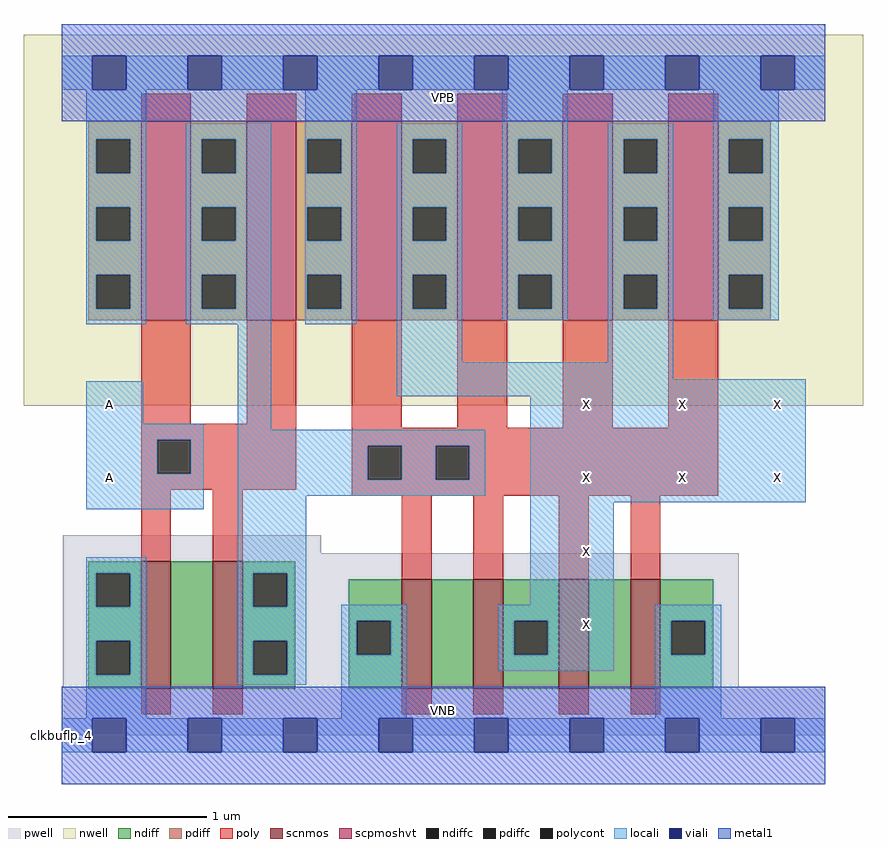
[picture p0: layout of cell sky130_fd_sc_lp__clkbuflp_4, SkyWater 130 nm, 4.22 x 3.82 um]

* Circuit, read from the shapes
.subckt sky130_fd_sc_lp__clkbuflp_4 A VGND VNB VPB VPWR X
XM1 n1 A VGND VNB sky130_fd_pr__nfet_01v8 w=0.64 l=0.15
XM2 n2 A n1 VNB sky130_fd_pr__nfet_01v8 w=0.64 l=0.15
XM3 n3 n2 VGND VNB sky130_fd_pr__nfet_01v8 w=0.55 l=0.15
XM4 X n2 n3 VNB sky130_fd_pr__nfet_01v8 w=0.55 l=0.15
XM5 n4 n2 X VNB sky130_fd_pr__nfet_01v8 w=0.55 l=0.15
XM6 VGND n2 n4 VNB sky130_fd_pr__nfet_01v8 w=0.55 l=0.15
XM7 n2 A VPWR VPB sky130_fd_pr__pfet_01v8_hvt w=1 l=0.25 m=2
XM8 X n2 VPWR VPB sky130_fd_pr__pfet_01v8_hvt w=1 l=0.25 m=4
.ends

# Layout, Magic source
magic
tech sky130A
magscale 1 2
<< nwell >>
rect -38 331 806 704
<< pwell >>
rect 1 183 261 201
rect 1 49 681 183
rect 0 0 768 49
<< scnmos >>
rect 80 47 110 175
rect 152 47 182 175
rect 342 47 372 157
rect 414 47 444 157
rect 500 47 530 157
rect 572 47 602 157
<< scpmoshvt >>
rect 80 417 130 617
rect 186 417 236 617
rect 292 417 342 617
rect 398 417 448 617
rect 504 417 554 617
rect 610 417 660 617
<< ndiff >>
rect 27 163 80 175
rect 27 129 35 163
rect 69 129 80 163
rect 27 95 80 129
rect 27 61 35 95
rect 69 61 80 95
rect 27 47 80 61
rect 110 47 152 175
rect 182 163 235 175
rect 182 129 193 163
rect 227 129 235 163
rect 182 95 235 129
rect 182 61 193 95
rect 227 61 235 95
rect 182 47 235 61
rect 289 115 342 157
rect 289 81 297 115
rect 331 81 342 115
rect 289 47 342 81
rect 372 47 414 157
rect 444 115 500 157
rect 444 81 455 115
rect 489 81 500 115
rect 444 47 500 81
rect 530 47 572 157
rect 602 115 655 157
rect 602 81 613 115
rect 647 81 655 115
rect 602 47 655 81
<< pdiff >>
rect 27 599 80 617
rect 27 565 35 599
rect 69 565 80 599
rect 27 531 80 565
rect 27 497 35 531
rect 69 497 80 531
rect 27 463 80 497
rect 27 429 35 463
rect 69 429 80 463
rect 27 417 80 429
rect 130 599 186 617
rect 130 565 141 599
rect 175 565 186 599
rect 130 531 186 565
rect 130 497 141 531
rect 175 497 186 531
rect 130 463 186 497
rect 130 429 141 463
rect 175 429 186 463
rect 130 417 186 429
rect 236 599 292 617
rect 236 565 247 599
rect 281 565 292 599
rect 236 531 292 565
rect 236 497 247 531
rect 281 497 292 531
rect 236 463 292 497
rect 236 429 247 463
rect 281 429 292 463
rect 236 417 292 429
rect 342 599 398 617
rect 342 565 353 599
rect 387 565 398 599
rect 342 531 398 565
rect 342 497 353 531
rect 387 497 398 531
rect 342 463 398 497
rect 342 429 353 463
rect 387 429 398 463
rect 342 417 398 429
rect 448 599 504 617
rect 448 565 459 599
rect 493 565 504 599
rect 448 531 504 565
rect 448 497 459 531
rect 493 497 504 531
rect 448 463 504 497
rect 448 429 459 463
rect 493 429 504 463
rect 448 417 504 429
rect 554 599 610 617
rect 554 565 565 599
rect 599 565 610 599
rect 554 531 610 565
rect 554 497 565 531
rect 599 497 610 531
rect 554 463 610 497
rect 554 429 565 463
rect 599 429 610 463
rect 554 417 610 429
rect 660 599 713 617
rect 660 565 671 599
rect 705 565 713 599
rect 660 531 713 565
rect 660 497 671 531
rect 705 497 713 531
rect 660 463 713 497
rect 660 429 671 463
rect 705 429 713 463
rect 660 417 713 429
<< ndiffc >>
rect 35 129 69 163
rect 35 61 69 95
rect 193 129 227 163
rect 193 61 227 95
rect 297 81 331 115
rect 455 81 489 115
rect 613 81 647 115
<< pdiffc >>
rect 35 565 69 599
rect 35 497 69 531
rect 35 429 69 463
rect 141 565 175 599
rect 141 497 175 531
rect 141 429 175 463
rect 247 565 281 599
rect 247 497 281 531
rect 247 429 281 463
rect 353 565 387 599
rect 353 497 387 531
rect 353 429 387 463
rect 459 565 493 599
rect 459 497 493 531
rect 459 429 493 463
rect 565 565 599 599
rect 565 497 599 531
rect 565 429 599 463
rect 671 565 705 599
rect 671 497 705 531
rect 671 429 705 463
<< poly >>
rect 80 617 130 645
rect 186 617 236 645
rect 292 617 342 645
rect 398 617 448 645
rect 504 617 554 645
rect 610 617 660 645
rect 80 313 130 417
rect 186 313 236 417
rect 80 297 236 313
rect 80 263 96 297
rect 130 263 236 297
rect 80 247 236 263
rect 292 309 342 417
rect 398 309 448 417
rect 504 309 554 417
rect 610 309 660 417
rect 292 291 660 309
rect 292 257 308 291
rect 342 257 376 291
rect 410 257 660 291
rect 80 175 110 247
rect 152 175 182 247
rect 292 241 660 257
rect 342 157 372 241
rect 414 157 444 241
rect 500 157 530 241
rect 572 157 602 241
rect 80 21 110 47
rect 152 21 182 47
rect 342 21 372 47
rect 414 21 444 47
rect 500 21 530 47
rect 572 21 602 47
<< polycont >>
rect 96 263 130 297
rect 308 257 342 291
rect 376 257 410 291
<< locali >>
rect 0 649 31 683
rect 65 649 127 683
rect 161 649 223 683
rect 257 649 319 683
rect 353 649 415 683
rect 449 649 511 683
rect 545 649 607 683
rect 641 649 703 683
rect 737 649 768 683
rect 25 599 85 649
rect 25 565 35 599
rect 69 565 85 599
rect 25 531 85 565
rect 25 497 35 531
rect 69 497 85 531
rect 25 463 85 497
rect 25 429 35 463
rect 69 429 85 463
rect 25 413 85 429
rect 125 599 211 615
rect 125 565 141 599
rect 175 565 211 599
rect 125 531 211 565
rect 125 497 141 531
rect 175 497 211 531
rect 125 463 211 497
rect 125 429 141 463
rect 175 429 211 463
rect 125 413 211 429
rect 245 599 297 649
rect 245 565 247 599
rect 281 565 297 599
rect 245 531 297 565
rect 245 497 247 531
rect 281 497 297 531
rect 245 463 297 497
rect 245 429 247 463
rect 281 429 297 463
rect 245 413 297 429
rect 337 599 403 615
rect 337 565 353 599
rect 387 565 403 599
rect 337 531 403 565
rect 337 497 353 531
rect 387 497 403 531
rect 337 463 403 497
rect 337 429 353 463
rect 387 429 403 463
rect 25 313 82 356
rect 25 297 143 313
rect 25 263 96 297
rect 130 263 143 297
rect 25 227 143 263
rect 177 307 211 413
rect 337 375 403 429
rect 443 599 509 649
rect 443 565 459 599
rect 493 565 509 599
rect 443 531 509 565
rect 443 497 459 531
rect 493 497 509 531
rect 443 463 509 497
rect 443 429 459 463
rect 493 429 509 463
rect 443 417 509 429
rect 549 599 615 615
rect 549 565 565 599
rect 599 565 615 599
rect 549 531 615 565
rect 549 497 565 531
rect 599 497 615 531
rect 549 463 615 497
rect 549 429 565 463
rect 599 429 615 463
rect 549 375 615 429
rect 655 599 721 649
rect 655 565 671 599
rect 705 565 721 599
rect 655 531 721 565
rect 655 497 671 531
rect 705 497 721 531
rect 655 463 721 497
rect 655 429 671 463
rect 705 429 721 463
rect 655 417 721 429
rect 337 358 615 375
rect 337 341 748 358
rect 177 291 426 307
rect 177 257 308 291
rect 342 257 376 291
rect 410 257 426 291
rect 177 241 426 257
rect 25 163 85 179
rect 25 129 35 163
rect 69 129 85 163
rect 25 95 85 129
rect 25 61 35 95
rect 69 61 85 95
rect 25 17 85 61
rect 177 163 246 241
rect 177 129 193 163
rect 227 129 246 163
rect 471 234 748 341
rect 471 131 555 234
rect 177 95 246 129
rect 177 61 193 95
rect 227 61 246 95
rect 177 51 246 61
rect 281 115 347 131
rect 281 81 297 115
rect 331 81 347 115
rect 281 17 347 81
rect 439 115 555 131
rect 439 81 455 115
rect 489 81 555 115
rect 439 65 555 81
rect 597 115 663 131
rect 597 81 613 115
rect 647 81 663 115
rect 597 17 663 81
rect 0 -17 31 17
rect 65 -17 127 17
rect 161 -17 223 17
rect 257 -17 319 17
rect 353 -17 415 17
rect 449 -17 511 17
rect 545 -17 607 17
rect 641 -17 703 17
rect 737 -17 768 17
<< viali >>
rect 31 649 65 683
rect 127 649 161 683
rect 223 649 257 683
rect 319 649 353 683
rect 415 649 449 683
rect 511 649 545 683
rect 607 649 641 683
rect 703 649 737 683
rect 31 -17 65 17
rect 127 -17 161 17
rect 223 -17 257 17
rect 319 -17 353 17
rect 415 -17 449 17
rect 511 -17 545 17
rect 607 -17 641 17
rect 703 -17 737 17
<< metal1 >>
rect 0 683 768 715
rect 0 649 31 683
rect 65 649 127 683
rect 161 649 223 683
rect 257 649 319 683
rect 353 649 415 683
rect 449 649 511 683
rect 545 649 607 683
rect 641 649 703 683
rect 737 649 768 683
rect 0 617 768 649
rect 0 17 768 49
rect 0 -17 31 17
rect 65 -17 127 17
rect 161 -17 223 17
rect 257 -17 319 17
rect 353 -17 415 17
rect 449 -17 511 17
rect 545 -17 607 17
rect 641 -17 703 17
rect 737 -17 768 17
rect 0 -49 768 -17
<< labels >>
flabel pwell s 0 0 768 49 0 FreeSans 200 0 0 0 VNB
port 3 nsew ground bidirectional
flabel nwell s 0 617 768 666 0 FreeSans 200 0 0 0 VPB
port 4 nsew power bidirectional
rlabel comment s 0 0 0 0 4 clkbuflp_4
flabel metal1 s 0 617 768 666 0 FreeSans 340 0 0 0 VPWR
port 5 nsew power bidirectional
flabel metal1 s 0 0 768 49 0 FreeSans 340 0 0 0 VGND
port 2 nsew ground bidirectional
flabel locali s 511 94 545 128 0 FreeSans 340 0 0 0 X
port 6 nsew signal output
flabel locali s 31 316 65 350 0 FreeSans 340 0 0 0 A
port 1 nsew signal input
flabel locali s 703 316 737 350 0 FreeSans 340 0 0 0 X
port 6 nsew signal output
flabel locali s 31 242 65 276 0 FreeSans 340 0 0 0 A
port 1 nsew signal input
flabel locali s 511 316 545 350 0 FreeSans 340 0 0 0 X
port 6 nsew signal output
flabel locali s 511 242 545 276 0 FreeSans 340 0 0 0 X
port 6 nsew signal output
flabel locali s 511 168 545 202 0 FreeSans 340 0 0 0 X
port 6 nsew signal output
flabel locali s 703 242 737 276 0 FreeSans 340 0 0 0 X
port 6 nsew signal output
flabel locali s 607 316 641 350 0 FreeSans 340 0 0 0 X
port 6 nsew signal output
flabel locali s 607 242 641 276 0 FreeSans 340 0 0 0 X
port 6 nsew signal output
<< properties >>
string LEFsite unit
string LEFclass CORE
string FIXED_BBOX 0 0 768 666
string GDS_FILE $PDKPATH/libs.ref/sky130_fd_sc_lp/gds/sky130_fd_sc_lp.gds
string LEFsymmetry X Y R90
string GDS_END 5400720
string GDS_START 5393956
<< end >>
